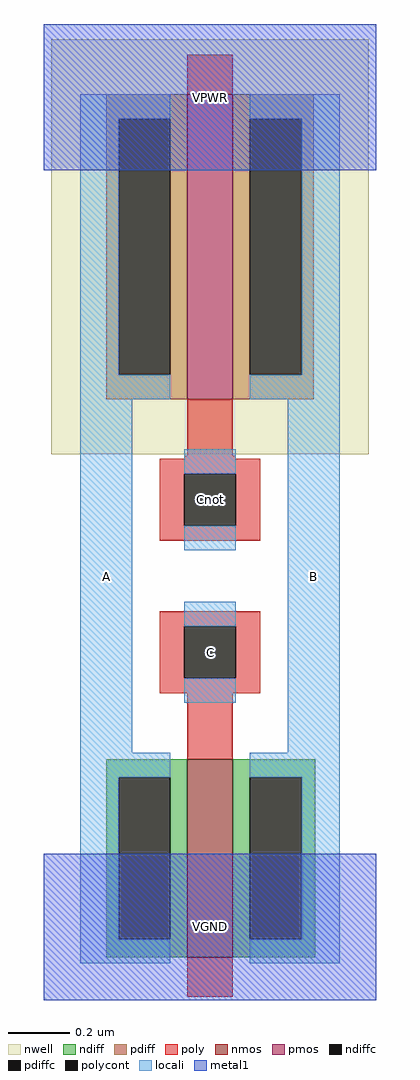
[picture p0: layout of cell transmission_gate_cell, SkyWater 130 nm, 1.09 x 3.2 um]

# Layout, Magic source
magic
tech sky130A
magscale 1 2
<< nwell >>
rect -89 -36 119 236
<< nmos >>
rect 0 -366 30 -236
<< pmos >>
rect 0 0 30 200
<< ndiff >>
rect -53 -248 0 -236
rect -53 -354 -45 -248
rect -11 -354 0 -248
rect -53 -366 0 -354
rect 30 -248 84 -236
rect 30 -354 41 -248
rect 75 -354 84 -248
rect 30 -366 84 -354
<< pdiff >>
rect -53 184 0 200
rect -53 16 -45 184
rect -11 16 0 184
rect -53 0 0 16
rect 30 184 83 200
rect 30 16 41 184
rect 75 16 83 184
rect 30 0 83 16
<< ndiffc >>
rect -45 -354 -11 -248
rect 41 -354 75 -248
<< pdiffc >>
rect -45 16 -11 184
rect 41 16 75 184
<< poly >>
rect 0 200 30 226
rect 0 -37 30 0
rect -2 -39 32 -37
rect -18 -49 48 -39
rect -18 -83 -2 -49
rect 32 -83 48 -49
rect -18 -93 48 -83
rect -18 -149 48 -139
rect -18 -183 -2 -149
rect 32 -183 48 -149
rect -18 -193 48 -183
rect 0 -236 30 -193
rect 0 -392 30 -366
<< polycont >>
rect -2 -83 32 -49
rect -2 -183 32 -149
<< locali >>
rect -70 184 -11 200
rect -70 16 -45 184
rect -70 0 -11 16
rect 41 184 100 200
rect 75 16 100 184
rect 41 0 100 16
rect -70 -232 -36 0
rect -2 -49 32 -33
rect -2 -99 32 -83
rect -2 -149 32 -133
rect -2 -199 32 -183
rect 66 -232 100 0
rect -70 -248 -11 -232
rect -70 -354 -45 -248
rect -70 -370 -11 -354
rect 41 -248 100 -232
rect 75 -354 100 -248
rect 41 -370 100 -354
<< metal1 >>
rect -94 150 124 246
rect -94 -394 124 -298
<< labels >>
rlabel polycont -2 -83 32 -49 1 Cnot
port 2 n signal input
rlabel polycont -2 -183 32 -149 1 C
port 1 n signal input
rlabel locali -70 -248 -36 16 1 A
port 3 n signal bidirectional
rlabel locali 66 -248 100 16 1 B
port 4 n signal bidirectional
rlabel metal1 -94 150 124 246 1 VPWR
port 5 n power bidirectional abutment
rlabel metal1 -94 -394 124 -298 1 VGND
port 6 n ground bidirectional abutment
<< properties >>
string LEFsite unithd
string LEFclass CORE
string LEFsource USER
<< end >>
